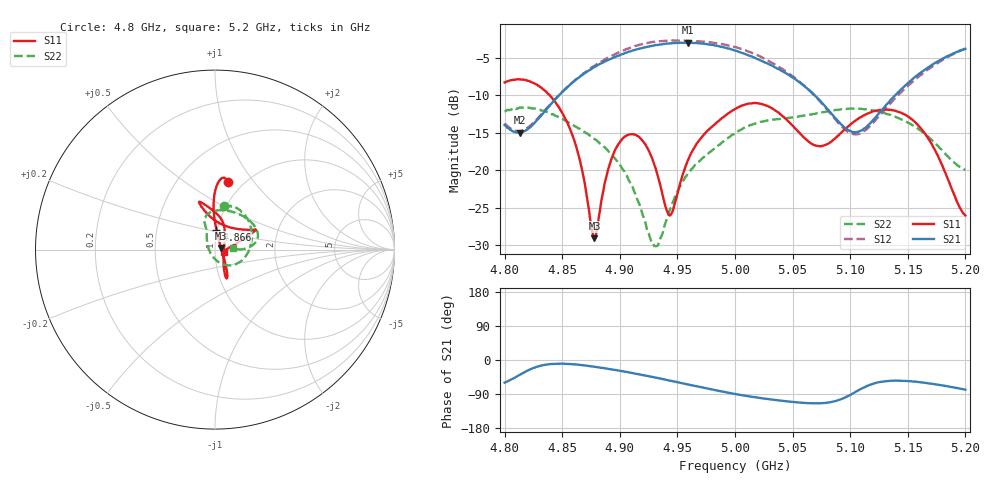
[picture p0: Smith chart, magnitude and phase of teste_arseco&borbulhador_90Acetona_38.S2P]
! Network Analyzer HP8722D
! Hewlett-Packard
! Data name: Linha & Wilkinson
! Saver's name: Rodrigo Anjos
! Comments: Teste da utilização de aquisição
! continua pelo VNA HP8722D
! Time and date: 17/4/2025 11:22
!  Frequency  S11  S21  S12  S22
# HZ  S  MA R 50
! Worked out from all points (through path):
!   401 points, 4.8 GHz to 5.2 GHz, reference 50 ohm
!   highest |S21| = -2.99 dB at 4.959 GHz (marker M1); lowest = -15.0 dB at 4.813 GHz (marker M2)
!   lowest |S11| = -29.1 dB at 4.878 GHz (marker M3), VSWR 1.07, Z = 53.5 + j0.913 ohm
!   |S11| at or under -10 dB: 4.839 GHz to end of sweep
!   |S22| runs from -30.2 to -11.6 dB; largest |S21 - S12| = 1.4
!   S11 on the Smith chart (normalised r, x): 4.8 GHz: 0.85, +0.75; 4.866 GHz: 0.99, +0.22; 5.2 GHz: 1.10, -0.03
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4.8e9  0.3844 79.3  0.1998 -59.9  0.2047 75.3  0.2466 78.0
4.813e9  0.4031 83.3  0.1773 -39.4  0.182 94.0  0.2615 66.7
4.845e9  0.277 91.4  0.3021 -9.8  0.3037 123.0  0.2288 27.5
4.857e9  0.1863 91.5  0.3726 -10.5  0.3734 124.1  0.2042 10.0
4.866e9  0.1108 85.7  0.4234 -13.3  0.4264 123.2  0.1869 -3.7
4.867e9  0.1023 84.8  0.4289 -13.6  0.431 123.1  0.1843 -5.2
4.878e9  0.03513 14.0  0.4897 -18.0  0.496 120.7  0.1611 -22.0
4.891e9  0.1077 -56.1  0.5482 -24.0  0.569 116.7  0.1309 -40.5
4.904e9  0.1668 -65.7  0.6004 -30.5  0.6318 111.1  0.09801 -59.0
4.92e9  0.156 -68.7  0.6529 -39.9  0.6965 102.4  0.04982 -93.2
4.928e9  0.1203 -65.2  0.6749 -44.5  0.7154 97.5  0.03253 -132.9
4.934e9  0.0857 -55.9  0.6872 -48.5  0.7244 93.8  0.03283 -177.7
4.944e9  0.04997 2.0  0.7018 -54.7  0.731 87.3  0.05559 140.1
4.959e9  0.1158 62.2  0.7088 -64.4  0.7277 77.7  0.09461 119.1
4.974e9  0.1759 79.3  0.6948 -74.0  0.7162 68.0  0.1241 113.2
5e9  0.2556 102.6  0.6282 -89.7  0.6635 51.1  0.1769 109.2
5.029e9  0.2661 108.5  0.5114 -103.2  0.5368 35.5  0.2141 92.6
5.067e9  0.1492 80.3  0.3283 -114.2  0.3257 26.3  0.2359 58.9
5.103e9  0.2099 31.7  0.1791 -87.2  0.1734 57.0  0.257 26.9
5.134e9  0.2527 25.7  0.286 -55.1  0.2738 91.1  0.2343 11.1
5.164e9  0.1785 21.2  0.4628 -60.0  0.4475 87.9  0.1766 2.6
5.2e9  0.04962 -17.1  0.6438 -78.2  0.6469 70.8  0.09983 4.9
